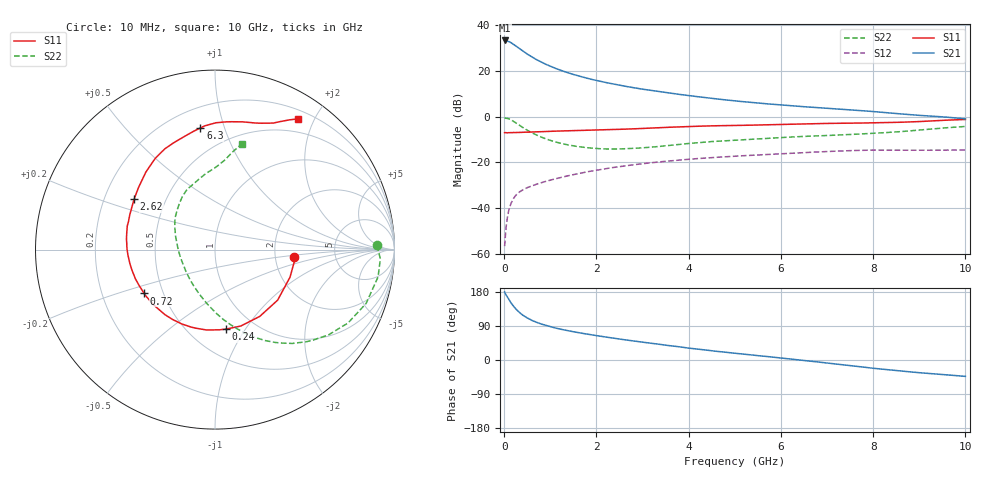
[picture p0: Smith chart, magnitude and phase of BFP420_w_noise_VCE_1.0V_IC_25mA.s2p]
! Infineon Technologies  Discrete & RF Semiconductors
! BFP420
! VCE =  1.0 V,  IC =  25 mA
! Common Emitter S-Parameters:  Jan 2016
# GHz  S  MA  R  50
!  f  S11  S21  S12  S22
! GHz  MAG  ANG  MAG  ANG  MAG  ANG  MAG  ANG
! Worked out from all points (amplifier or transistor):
!   233 points, 10 MHz to 10 GHz, reference 50 ohm
!   highest |S21| = 33.1 dB at 10 MHz (marker M1)
!   |S21| within 3 dB of that: start of sweep to 295.2 MHz
!   unconditionally stable (mu >= 1): 1.545 GHz to end of sweep
!   at 200 MHz: K = 0.29, MSG = 33.7 dB, |S12| = -35.8 dB
!   at 1.74 GHz: K = 1.04, MAG = 19.5 dB, |S12| = -24.3 dB
!   at 10 GHz: K = 1.06, MAG = 5.4 dB, |S12| = -14.6 dB
!   lowest NFmin = 1.38 dB at 900 MHz
!   S11 on the Smith chart (normalised r, x): 10 MHz: 2.57, -0.27; 240 MHz: 0.74, -0.82; 720 MHz: 0.39, -0.24; 2.62 GHz: 0.33, +0.26; 6.3 GHz: 0.33, +0.83; 10 GHz: 0.31, +1.78
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0.01  0.4443 -5.4  45.32 179.5  0.0015 110.2  0.9032 1.5
0.02  0.447 -8.6  44.63 176.3  0.002 86.4  0.9227 -3.2
0.05  0.4453 -20.2  44.36 169.9  0.0045 85.2  0.9212 -9.5
0.1  0.4485 -38.9  42.99 159.8  0.009 77.6  0.8938 -19.6
0.125  0.4432 -47.5  41.6 155.2  0.0109 74.0  0.8672 -24.1
0.15  0.448 -56.2  40.49 150.4  0.0129 71.5  0.8464 -28.9
0.2  0.4494 -71.4  37.64 142.3  0.0162 66.8  0.7906 -37.0
0.24  0.4469 -82.0  35.14 136.6  0.0185 63.8  0.7438 -42.7
0.34  0.4508 -103.9  29.73 124.6  0.023 58.3  0.6361 -54.9
0.45  0.4555 -121.3  24.8 114.6  0.0267 55.0  0.5395 -65.3
0.6  0.4605 -138.3  19.82 104.6  0.0309 53.0  0.4427 -76.4
0.72  0.4645 -148.3  16.94 98.7  0.034 52.5  0.3876 -83.8
0.9  0.4722 -159.8  13.76 91.3  0.0386 52.2  0.3271 -93.7
1.08  0.4787 -168.6  11.53 85.4  0.0432 52.1  0.2856 -102.7
1.68  0.4989 170.8  7.331 70.7  0.0592 50.6  0.216 -130.9
2.62  0.5308 148.1  4.564 53.2  0.0841 44.1  0.1984 -169.9
3.4  0.5723 133.3  3.437 40.9  0.1034 37.2  0.225 164.5
5.1  0.6405 110.0  2.141 16.6  0.1384 21.2  0.3077 132.8
6.3  0.6826 96.8  1.692 1.5  0.16 10.3  0.3607 117.3
6.8  0.7 91.7  1.558 -5.2  0.1691 5.3  0.3784 110.8
8.4  0.74 72.4  1.183 -26.8  0.1847 -12.7  0.4539 90.4
10  0.8632 57.6  0.892 -43.3  0.1863 -24.8  0.6071 75.7
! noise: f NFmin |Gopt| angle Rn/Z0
0.9  1.38  0.22  -154  0.13
1.8  1.65  0.29  -143  0.13
2.4  1.81  0.26  -138  0.17
3  1.83  0.34  -129  0.18
4  1.97  0.45  -112  0.27
5  2.4  0.49  -95  0.44
6  2.85  0.54  -84  0.65
